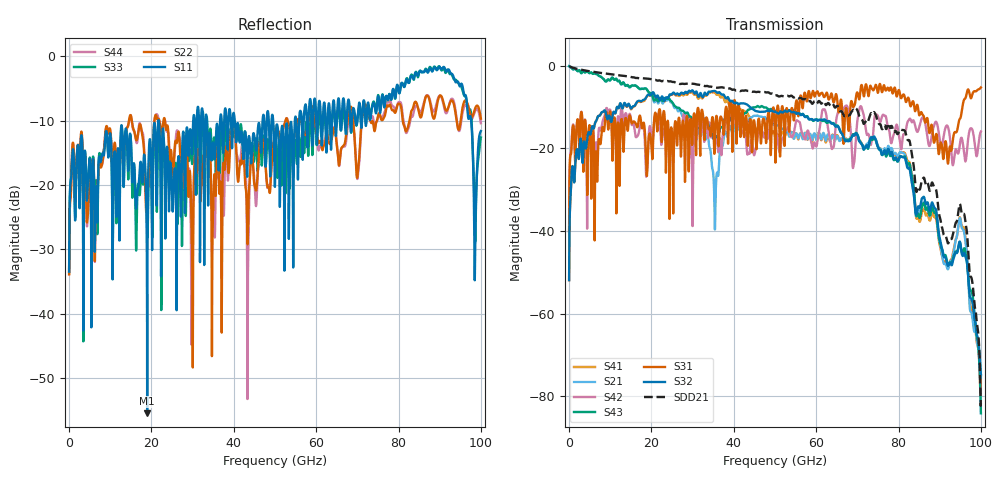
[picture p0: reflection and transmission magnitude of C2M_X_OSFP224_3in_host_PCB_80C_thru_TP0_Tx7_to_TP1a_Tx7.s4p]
# GHz S RI R 45
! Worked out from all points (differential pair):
!   4000 points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, 25 MHz to 100 GHz, reference 45 ohm
!   strongest paths, dB at 25 MHz, 25.02 GHz, 50.02 GHz, 75.03 GHz, 100 GHz:
!     S32: -51.9, -6.9, -11.2, -19.7, -74.7
!     S31: -40.1, -17.0, -19.2, -6.6, -5.3
!     S43: -0.1, -8.8, -11.0, -19.7, -84.1
!     S42: -40.1, -20.8, -13.9, -12.3, -15.9
!     S21: -0.1, -9.0, -14.6, -19.5, -74.9
!     S41: -51.9, -7.0, -17.2, -19.5, -75.3
!   taken as a pair (ports 3,1 in; 4,2 out), SDD21 dB: -0.1, -3.9, -7.3, -13.6, -81.3
!   lowest |S11| = -55.5 dB at 18.98 GHz (marker M1), VSWR 1.00, Z = 44.9 - j0.128 ohm
!   |S11| at or under -10 dB: start of sweep to 21.69 GHz; 21.8 GHz to 30.15 GHz (8.355 GHz wide, 32.2 % of centre); 40.24 GHz to 47 GHz (6.757 GHz wide, 15.5 % of centre)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
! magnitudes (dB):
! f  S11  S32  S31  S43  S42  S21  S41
! 25 MHz  -33.5  -51.9  -40.1  -0.1  -40.1  -0.1  -51.9
! 2.45 GHz  -18.5  -22.0  -18.7  -1.1  -17.0  -1.1  -22.0
! 18.98 GHz  -55.5  -7.3  -25.7  -5.9  -25.2  -5.9  -7.3
! 35.48 GHz  -15.5  -6.2  -16.3  -17.5  -18.8  -37.8  -6.5
! 81.35 GHz  -4.8  -22.2  -7.1  -22.0  -16.6  -21.3  -21.0
! 95.55 GHz  -4.7  -46.0  -9.8  -45.5  -18.4  -39.6  -39.1
! 100 GHz  -11.6  -74.7  -5.3  -84.1  -15.9  -74.9  -75.3
